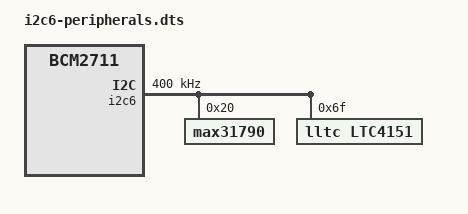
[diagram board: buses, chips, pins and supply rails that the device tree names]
/dts-v1/;
/plugin/;

/ {
  compatible = "brcm,bcm2711";

  fragment@0 {
    target = <&i2c6>;

    frag0: __overlay__ {
      clock-frequency = <400000>;

      max31790@20 {
        compatible = "max31790";
        reg = <0x20>;
      };

      ltc4151@6f {
        compatible = "lltc,ltc4151";
        reg = <0x6f>;
        shunt-resistor-micro-ohms = <5333>;
      };
    };
  };
};
